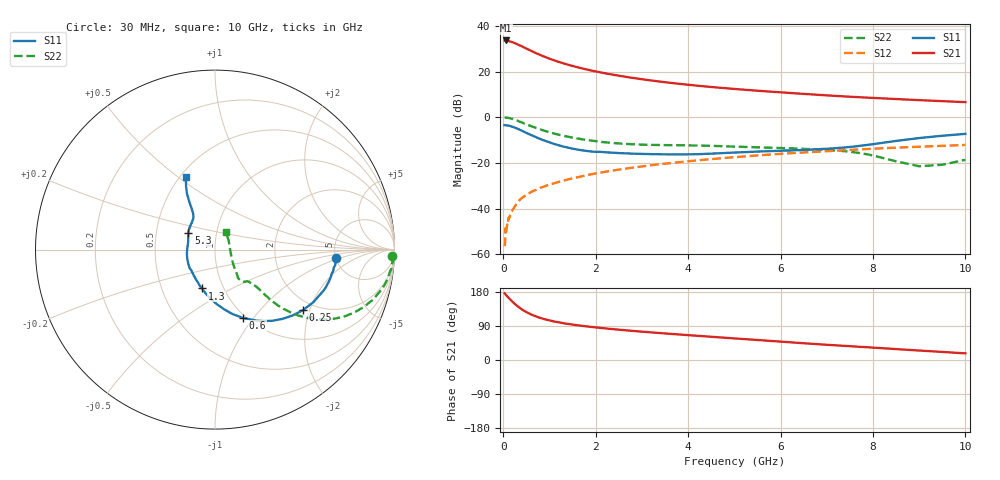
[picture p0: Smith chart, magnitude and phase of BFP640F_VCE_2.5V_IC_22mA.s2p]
! Infineon Technologies  Discrete & RF Semiconductors
! BFP640F
! VCE =  2.5 V,  IC =  22 mA
! Common Emitter S-Parameters:  Apr 2013
# GHz  S  MA  R  50
!  f  S11  S21  S12  S22
! GHz  MAG  ANG  MAG  ANG  MAG  ANG  MAG  ANG
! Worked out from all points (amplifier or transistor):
!   99 points, 30 MHz to 10 GHz, reference 50 ohm
!   highest |S21| = 33.7 dB at 50 MHz (marker M1)
!   |S21| within 3 dB of that: start of sweep to 444.6 MHz
!   unconditionally stable (mu >= 1): 2.149 GHz to end of sweep
!   at 350 MHz: K = 0.38, MSG = 34.0 dB, |S12| = -36.4 dB
!   at 3.5 GHz: K = 1.05, MAG = 16.5 dB, |S12| = -20.3 dB
!   at 10 GHz: K = 1.05, MAG = 8.1 dB, |S12| = -12.1 dB
!   S11 on the Smith chart (normalised r, x): 30 MHz: 4.98, -0.90; 250 MHz: 1.74, -1.81; 600 MHz: 0.97, -0.89; 1.3 GHz: 0.79, -0.36; 5.3 GHz: 0.73, +0.14; 10 GHz: 0.54, +0.53
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0.03  0.6747 -4.2  48.12 175.9  0.0015 121.7  0.9859 -2.0
0.05  0.6754 -7.4  48.46 173.2  0.0037 87.2  0.9923 -4.1
0.11  0.6582 -15.9  47.2 164.9  0.0061 84.2  0.973 -9.9
0.15  0.6431 -21.5  46.03 159.8  0.0072 82.0  0.9532 -13.6
0.2  0.6213 -28.2  44.33 153.7  0.0092 79.2  0.9231 -17.6
0.25  0.5953 -34.4  42.36 148.1  0.0111 79.0  0.8873 -21.2
0.3  0.5679 -40.2  40.26 142.9  0.0133 76.6  0.8505 -24.4
0.4  0.5111 -50.8  36.11 133.9  0.017 73.0  0.774 -29.7
0.5  0.4576 -59.8  32.21 126.5  0.0199 71.4  0.705 -33.5
0.6  0.4109 -67.8  28.79 120.4  0.023 70.1  0.6438 -36.4
0.7  0.3713 -74.9  25.81 115.4  0.0255 69.4  0.5902 -38.4
0.9  0.307 -87.4  21.19 107.5  0.0309 68.7  0.5049 -40.8
1.1  0.2618 -98.5  17.8 101.7  0.0359 68.4  0.4415 -41.9
1.3  0.2286 -108.6  15.29 97.2  0.041 67.8  0.3945 -42.1
1.7  0.1896 -127.2  11.88 90.2  0.051 67.3  0.3314 -41.8
2.4  0.1671 -154.0  8.515 81.2  0.0688 65.1  0.2725 -43.1
3.4  0.1552 178.9  6.065 71.0  0.0941 61.0  0.2468 -45.9
5.1  0.1707 151.1  4.119 56.2  0.1363 52.7  0.2269 -50.1
5.3  0.174 148.6  3.973 54.5  0.1411 51.7  0.2231 -50.3
6.7  0.1972 131.5  3.171 42.6  0.1743 43.9  0.1997 -50.5
8.5  0.3042 118.2  2.519 28.8  0.2165 33.7  0.1087 -30.0
10  0.4342 111.7  2.155 17.5  0.2481 24.9  0.1175 59.1
